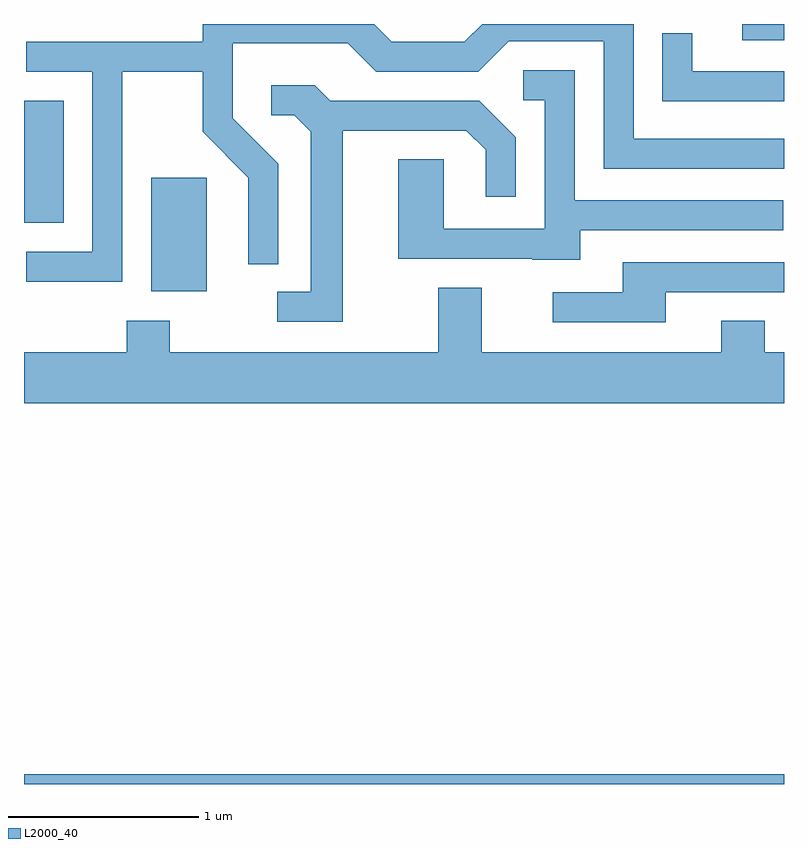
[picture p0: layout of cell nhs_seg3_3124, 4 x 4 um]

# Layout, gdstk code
import gdstk
lib = gdstk.Library(unit=1e-6, precision=1e-09)
def R(c, l, rs):  # rectangles x0, y0, x1, y1
    for r in rs: c.add(gdstk.rectangle(r[:2], r[2:], *l))
def P(c, l, *ps):  # polygons
    for p in ps: c.add(gdstk.Polygon(p, *l))
L2000_40 = (2000, 40)

nhs_seg3_3124 = lib.new_cell('nhs_seg3_3124')
R(nhs_seg3_3124, L2000_40, [(275.611,1243.892,279.611,1243.944), (276.281,1246.486,276.574,1247.084), (275.611,1246.846,275.819,1247.489), (279.391,1247.806,279.611,1247.892)])
P(nhs_seg3_3124, L2000_40, [(276.129,1247.641),(276.551,1247.641),(276.551,1247.324),(276.791,1247.084),(276.791,1246.628),(276.949,1246.628),(276.949,1247.157),(276.709,1247.397),(276.709,1247.791),(277.314,1247.791),(277.464,1247.641),(278.002,1247.641),(278.162,1247.801),(278.661,1247.801),(278.661,1247.131),(279.611,1247.131),(279.611,1247.289),(278.819,1247.289),(278.819,1247.892),(278.022,1247.892),(277.929,1247.799),(277.547,1247.799),(277.454,1247.892),(276.551,1247.892),(276.551,1247.799),(275.623,1247.799),(275.623,1247.641),(275.971,1247.641),(275.971,1246.694),(275.623,1246.694),(275.623,1246.536),(276.129,1246.536)],
  [(279.611,1247.644),(279.129,1247.644),(279.129,1247.843),(278.971,1247.843),(278.971,1247.486),(279.611,1247.486)],
  [(278.539,1246.806),(279.608,1246.806),(279.608,1246.964),(278.509,1246.964),(278.509,1247.649),(278.238,1247.649),(278.238,1247.491),(278.351,1247.491),(278.351,1246.814),(277.819,1246.814),(277.819,1247.179),(277.581,1247.179),(277.581,1246.656),(278.285,1246.656),(278.285,1246.651),(278.539,1246.651)],
  [(277.289,1247.331),(277.939,1247.331),(278.041,1247.229),(278.041,1246.983),(278.199,1246.983),(278.199,1247.297),(278.007,1247.489),(277.222,1247.489),(277.142,1247.569),(276.913,1247.569),(276.913,1247.411),(277.034,1247.411),(277.121,1247.324),(277.121,1246.484),(276.943,1246.484),(276.943,1246.326),(277.289,1246.326)],
  [(278.989,1246.481),(279.611,1246.481),(279.611,1246.639),(278.761,1246.639),(278.761,1246.479),(278.393,1246.479),(278.393,1246.321),(278.989,1246.321)],
  [(279.611,1246.164),(279.509,1246.164),(279.509,1246.329),(279.281,1246.329),(279.281,1246.164),(278.019,1246.164),(278.019,1246.504),(277.791,1246.504),(277.791,1246.164),(276.379,1246.164),(276.379,1246.329),(276.151,1246.329),(276.151,1246.164),(275.611,1246.164),(275.611,1245.896),(279.611,1245.896)])

lib.write_gds('nhs_seg3_3124.gds')
